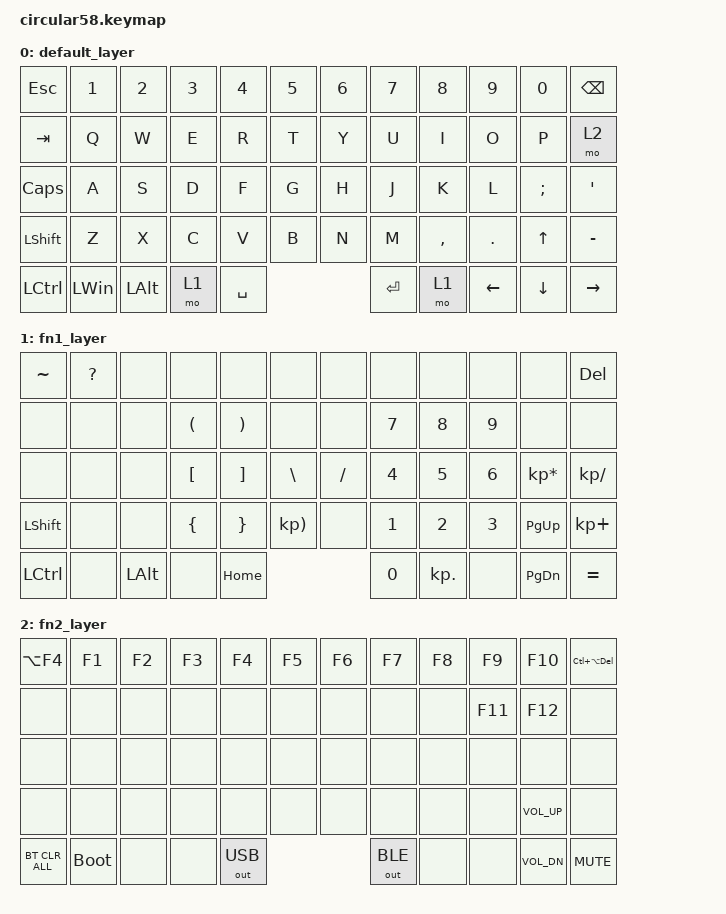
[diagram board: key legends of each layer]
#include <behaviors.dtsi>
#include <dt-bindings/zmk/bt.h>
#include <dt-bindings/zmk/keys.h>
#include <dt-bindings/zmk/outputs.h>

/ {
    keymap0: keymap {
        compatible = "zmk,keymap";

        default_layer {
            bindings = <
&kp ESC    &kp N1    &kp N2    &kp N3  &kp N4     &kp N5  &kp N6  &kp N7     &kp N8     &kp N9    &kp N0    &kp BSPC
&kp TAB    &kp Q     &kp W     &kp E   &kp R      &kp T   &kp Y   &kp U      &kp I      &kp O     &kp P     &mo 2
&kp CAPS   &kp A     &kp S     &kp D   &kp F      &kp G   &kp H   &kp J      &kp K      &kp L     &kp SEMI  &kp APOS
&kp LSHFT  &kp Z     &kp X     &kp C   &kp V      &kp B   &kp N   &kp M      &kp COMMA  &kp DOT   &kp UP    &kp MINUS
&kp LCTRL  &kp LWIN  &kp LALT  &mo 1   &kp SPACE                  &kp ENTER  &mo 1      &kp LEFT  &kp DOWN  &kp RIGHT
            >;
        };

        fn1_layer {
            bindings = <
&kp TILDE       &kp QUESTION  &none         &none                 &none                  &none                     &none      &none         &none         &none         &none            &kp DEL
&none           &none         &none         &kp LEFT_PARENTHESIS  &kp RIGHT_PARENTHESIS  &none                     &none      &kp NUMBER_7  &kp NUMBER_8  &kp NUMBER_9  &none            &none
&none           &none         &none         &kp LEFT_BRACKET      &kp RIGHT_BRACKET      &kp BSLH                  &kp SLASH  &kp NUMBER_4  &kp NUMBER_5  &kp NUMBER_6  &kp KP_MULTIPLY  &kp KP_DIVIDE
&kp LEFT_SHIFT  &none         &none         &kp LEFT_BRACE        &kp RIGHT_BRACE        &kp KP_RIGHT_PARENTHESIS  &none      &kp NUMBER_1  &kp NUMBER_2  &kp NUMBER_3  &kp PG_UP        &kp KP_PLUS
&kp LCTRL       &none         &kp LEFT_ALT  &none                 &kp HOME                                                    &kp NUMBER_0  &kp KP_DOT    &none         &kp PG_DN        &kp EQUAL
            >;
        };

        fn2_layer {
            bindings = <
&kp LA(F4)      &kp F1       &kp F2  &kp F3  &kp F4        &kp F5  &kp F6  &kp F7        &kp F8  &kp F9   &kp F10       &kp LC(LA(DEL))
&none           &none        &none   &none   &none         &none   &none   &none         &none   &kp F11  &kp F12       &none
&none           &none        &none   &none   &none         &none   &none   &none         &none   &none    &none         &none
&none           &none        &none   &none   &none         &none   &none   &none         &none   &none    &kp C_VOL_UP  &none
&bt BT_CLR_ALL  &bootloader  &none   &none   &out OUT_USB                  &out OUT_BLE  &none   &none    &kp C_VOL_DN  &kp C_MUTE
            >;
        };
    };
};
